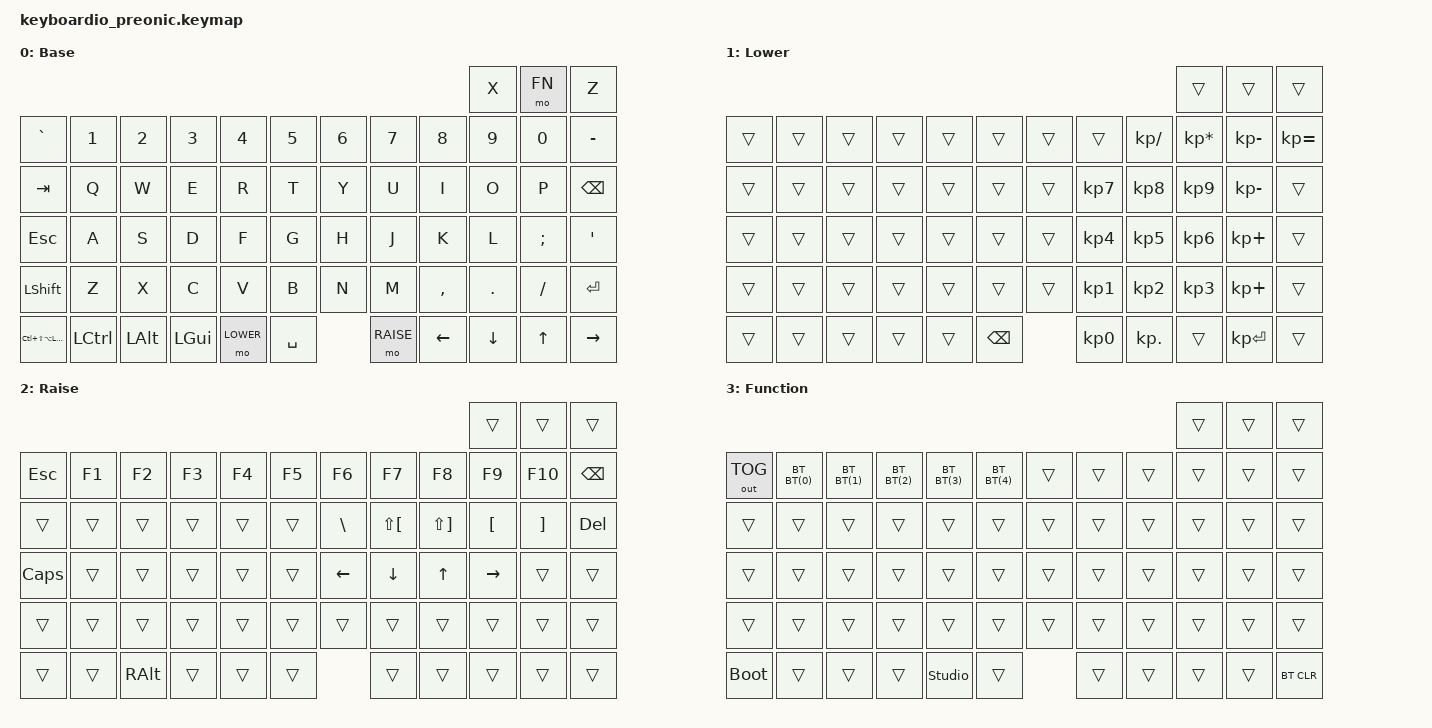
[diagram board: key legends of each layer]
/*
 * Copyright (c) 2022 Pete Johanson
 *
 * SPDX-License-Identifier: MIT
 */

#include <behaviors.dtsi>
#include <dt-bindings/zmk/keys.h>
#include <dt-bindings/zmk/bt.h>
#include <dt-bindings/zmk/outputs.h>

#define LOWER 1
#define RAISE 2
#define FN 3

// Using layer taps on thumbs, having quick tap as well helps w/ repeating space/backspace
&lt { quick_tap_ms = <200>; };

&mt {
    flavor = "tap-preferred";
    tapping_term_ms = <150>;
};

// Convenience macro to make the Bluetooth commands shorter
#define BT(n) BT_SEL n

// Hyper key: all the modifiers
#define HYPER LC(LS(LA(LGUI)))

/ {
    chosen {
        // Valid choices: [ &mit_layout, &ortho_layout ]
        zmk,physical-layout = &mit_layout;
    };

    keymap {
        compatible = "zmk,keymap";

        base_layer {
            label = "Base";
            bindings = <
                                                                                                             &kp X       &mo FN      &kp Z

 &kp GRAVE   &kp N1      &kp N2      &kp N3      &kp N4      &kp N5      &kp N6      &kp N7      &kp N8      &kp N9      &kp N0      &kp MINUS
 &kp TAB     &kp Q       &kp W       &kp E       &kp R       &kp T       &kp Y       &kp U       &kp I       &kp O       &kp P       &kp BKSP
 &kp ESC     &kp A       &kp S       &kp D       &kp F       &kp G       &kp H       &kp J       &kp K       &kp L       &kp SEMI    &kp SQT
 &kp LSHFT   &kp Z       &kp X       &kp C       &kp V       &kp B       &kp N       &kp M       &kp COMMA   &kp PERIOD  &kp SLASH   &kp ENTER
 &kp HYPER   &kp LCTRL   &kp LALT    &kp LGUI    &mo LOWER         &kp SPACE         &mo RAISE   &kp LEFT    &kp DOWN    &kp UP      &kp RIGHT

            >;
        };

        lower_layer {
            label = "Lower";
            bindings = <
                                                                                                               &trans          &trans       &trans

 &trans      &trans      &trans      &trans      &trans      &trans      &trans      &trans      &kp KP_DIVIDE &kp KP_MULTIPLY &kp KP_MINUS &kp KP_EQUAL
 &trans      &trans      &trans      &trans      &trans      &trans      &trans      &kp KP_N7   &kp KP_N8     &kp KP_N9       &kp KP_MINUS &trans
 &trans      &trans      &trans      &trans      &trans      &trans      &trans      &kp KP_N4   &kp KP_N5     &kp KP_N6       &kp KP_PLUS  &trans
 &trans      &trans      &trans      &trans      &trans      &trans      &trans      &kp KP_N1   &kp KP_N2     &kp KP_N3       &kp KP_PLUS  &trans
 &trans      &trans      &trans      &trans      &trans            &kp BKSP          &kp KP_N0   &kp KP_DOT    &trans          &kp KP_ENTER &trans

            >;
        };

        raise_layer {
            label = "Raise";
            bindings = <
                                                                                                               &trans     &trans     &trans

 &kp ESC     &kp F1      &kp F2      &kp F3      &kp F4      &kp F5      &kp F6      &kp F7       &kp F8       &kp F9     &kp F10    &kp BKSP
 &trans      &trans      &trans      &trans      &trans      &trans      &kp BSLH    &kp LS(LBKT) &kp LS(RBKT) &kp LBKT   &kp RBKT   &kp DEL
 &kp CAPS    &trans      &trans      &trans      &trans      &trans      &kp LEFT    &kp DOWN     &kp UP       &kp RIGHT  &trans     &trans
 &trans      &trans      &trans      &trans      &trans      &trans      &trans      &trans       &trans       &trans     &trans     &trans
 &trans      &trans      &kp RALT    &trans      &trans            &trans            &trans       &trans       &trans     &trans     &trans

            >;
        };

        func_layer {
            label = "Function";
            bindings = <
                                                                                                             &trans      &trans      &trans

 &out OUT_TOG &bt BT(0)   &bt BT(1)   &bt BT(2)   &bt BT(3)   &bt BT(4)   &trans      &trans      &trans     &trans      &trans      &trans
 &trans       &trans      &trans      &trans      &trans      &trans      &trans      &trans      &trans     &trans      &trans      &trans
 &trans       &trans      &trans      &trans      &trans      &trans      &trans      &trans      &trans     &trans      &trans      &trans
 &trans       &trans      &trans      &trans      &trans      &trans      &trans      &trans      &trans     &trans      &trans      &trans
 &bootloader  &trans      &trans      &trans      &studio_unlock    &trans            &trans      &trans     &trans      &trans      &bt BT_CLR

            >;
        };
    };
};

